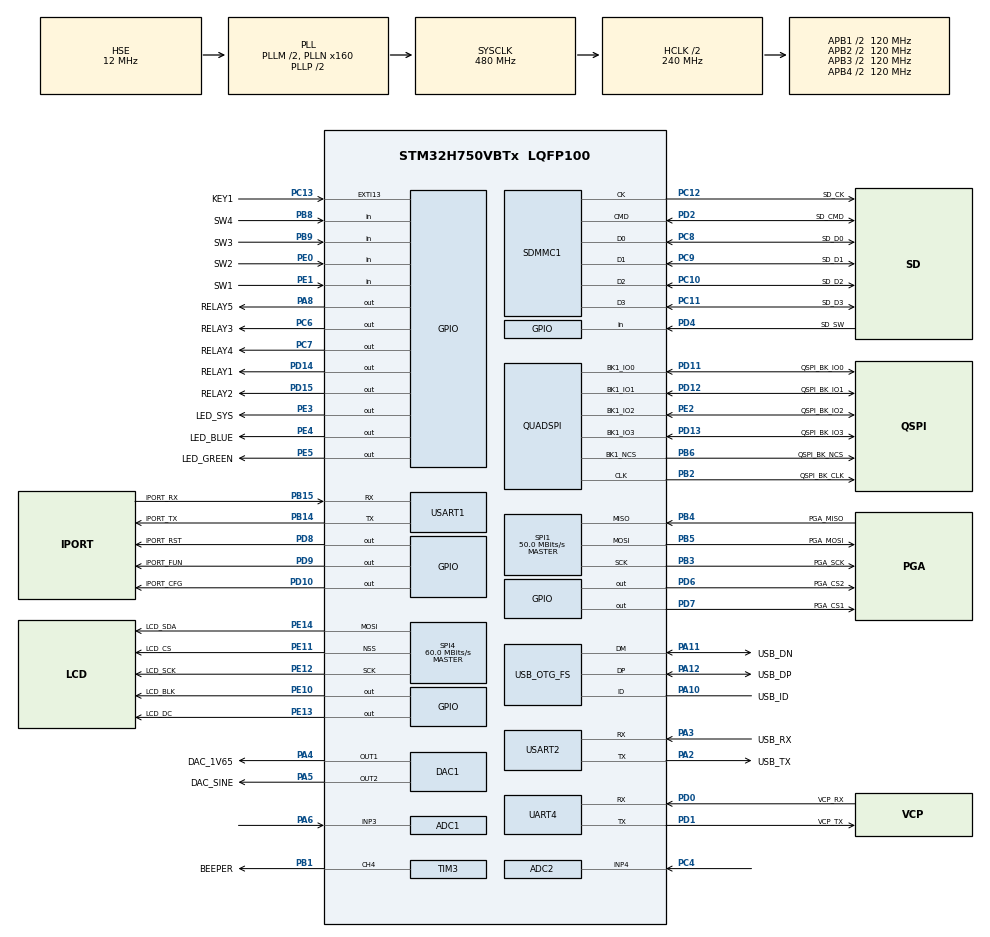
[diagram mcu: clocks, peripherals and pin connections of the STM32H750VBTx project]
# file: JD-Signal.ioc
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ADC1.Channel-10\#ChannelRegularConversion=ADC_CHANNEL_3
ADC1.ClockPrescaler=ADC_CLOCK_ASYNC_DIV6
ADC1.NbrOfConversionFlag=1
ADC1.OffsetNumber-10\#ChannelRegularConversion=ADC_OFFSET_NONE
ADC1.OffsetSignedSaturation-10\#ChannelRegularConversion=DISABLE
ADC1.Rank-10\#ChannelRegularConversion=1
ADC1.SamplingTime-10\#ChannelRegularConversion=ADC_SAMPLETIME_1CYCLE_5
ADC1.master=1
ADC2.Channel-3\#ChannelRegularConversion=ADC_CHANNEL_4
ADC2.ClockPrescaler=ADC_CLOCK_ASYNC_DIV6
ADC2.NbrOfConversionFlag=1
ADC2.OffsetNumber-3\#ChannelRegularConversion=ADC_OFFSET_NONE
ADC2.OffsetSignedSaturation-3\#ChannelRegularConversion=DISABLE
ADC2.Rank-3\#ChannelRegularConversion=1
ADC2.SamplingTime-3\#ChannelRegularConversion=ADC_SAMPLETIME_1CYCLE_5
ADC3.Channel-0\#ChannelRegularConversion=ADC_CHANNEL_TEMPSENSOR
ADC3.ClockPrescaler=ADC_CLOCK_ASYNC_DIV6
ADC3.NbrOfConversionFlag=1
ADC3.OffsetNumber-0\#ChannelRegularConversion=ADC_OFFSET_NONE
ADC3.OffsetSignedSaturation-0\#ChannelRegularConversion=DISABLE
ADC3.Rank-0\#ChannelRegularConversion=1
ADC3.Resolution=ADC_RESOLUTION_12B
ADC3.SamplingTime-0\#ChannelRegularConversion=ADC_SAMPLETIME_810CYCLES_5
CORTEX_M7.CPU_ICache=Enabled
DAC1.DAC1_OutputBuffer-DAC_OUT1=DAC_OUTPUTBUFFER_DISABLE
DAC1.DAC2_OutputBuffer-DAC_OUT2=DAC_OUTPUTBUFFER_DISABLE
DAC1.DAC_Channel-DAC_OUT1=DAC_CHANNEL_1
DAC1.DAC_Channel-DAC_OUT2=DAC_CHANNEL_2
DAC1.DAC_Trigger-DAC_OUT1=DAC_TRIGGER_NONE
DAC1.DAC_Trigger-DAC_OUT2=DAC_TRIGGER_T6_TRGO
Dma.DAC1_CH2.0.Direction=DMA_MEMORY_TO_PERIPH
Dma.DAC1_CH2.0.EventEnable=DISABLE
Dma.DAC1_CH2.0.FIFOMode=DMA_FIFOMODE_DISABLE
Dma.DAC1_CH2.0.Instance=DMA1_Stream1
Dma.DAC1_CH2.0.MemDataAlignment=DMA_MDATAALIGN_HALFWORD
Dma.DAC1_CH2.0.MemInc=DMA_MINC_ENABLE
Dma.DAC1_CH2.0.Mode=DMA_CIRCULAR
Dma.DAC1_CH2.0.PeriphDataAlignment=DMA_PDATAALIGN_HALFWORD
Dma.DAC1_CH2.0.PeriphInc=DMA_PINC_DISABLE
Dma.DAC1_CH2.0.Polarity=HAL_DMAMUX_REQ_GEN_RISING
Dma.DAC1_CH2.0.Priority=DMA_PRIORITY_VERY_HIGH
Dma.DAC1_CH2.0.RequestNumber=1
Dma.DAC1_CH2.0.SignalID=NONE
Dma.DAC1_CH2.0.SyncEnable=DISABLE
Dma.DAC1_CH2.0.SyncPolarity=HAL_DMAMUX_SYNC_NO_EVENT
Dma.DAC1_CH2.0.SyncRequestNumber=1
Dma.DAC1_CH2.0.SyncSignalID=NONE
Dma.Request0=DAC1_CH2
FATFS.BSP.number=1
FATFS._CODE_PAGE=437
FATFS._FS_EXFAT=1
FATFS._MAX_SS=4096
FATFS._USE_LFN=2
FATFS0.BSP.STBoard=false
FATFS0.BSP.api=Unknown
FATFS0.BSP.instance=PD4
FATFS0.BSP.ip=GPIO
FATFS0.BSP.mode=Input
FATFS0.BSP.name=Detect_SDIO
FATFS0.BSP.solution=PD4
FREERTOS.INCLUDE_pcTaskGetTaskName=1
FREERTOS.INCLUDE_xTaskGetHandle=1
FREERTOS.Tasks01=default_Task,0,128,Default_Task,Default,NULL,Dynamic,NULL,NULL;sysLED_Task,-2,128,SysLED_Task,Default,NULL,Dynamic,NULL,NULL;sysTime_Task,-2,128,SysTime_Task,Default,NULL,Dynamic,NULL,NULL;cJSON_Task,-2,1024,CJSON_Task,Default,NULL,Dynamic,NULL,NULL;analyze_Task,0,1024,Analyze_Task,Default,NULL,Dynamic,NULL,NULL;sysTemp_Task,-3,128,SysTemp_Task,Default,NULL,Dynamic,NULL,NULL
FREERTOS.configENABLE_FPU=1
FREERTOS.configGENERATE_RUN_TIME_STATS=1
FREERTOS.configUSE_APPLICATION_TASK_TAG=0
FREERTOS.configUSE_STATS_FORMATTING_FUNCTIONS=1
Mcu.Family=STM32H7
Mcu.Name=STM32H750VBTx
Mcu.Package=LQFP100
NVIC.PriorityGroup=NVIC_PRIORITYGROUP_4
NVIC.SPI4_IRQn=true\:5\:0\:false\:false\:true\:true\:true\:true\:true
NVIC.TIM1_UP_IRQn=true\:15\:0\:false\:false\:true\:false\:false\:true\:true
NVIC.TIM3_IRQn=true\:5\:0\:false\:false\:true\:true\:true\:true\:true
NVIC.TIM4_IRQn=true\:5\:0\:false\:false\:true\:true\:true\:true\:true
NVIC.TIM6_DAC_IRQn=true\:5\:0\:false\:false\:true\:true\:true\:true\:true
NVIC.TimeBase=TIM1_UP_IRQn
NVIC.TimeBaseIP=TIM1
PA10.GPIO_Label=USB_ID
PA10.Mode=OTG/Dual_Role_Device
PA10.Signal=USB_OTG_FS_ID
PA11.GPIO_Label=USB_DN
PA11.Mode=OTG/Dual_Role_Device
PA11.Signal=USB_OTG_FS_DM
PA12.GPIO_Label=USB_DP
PA12.Mode=OTG/Dual_Role_Device
PA12.Signal=USB_OTG_FS_DP
PA13\ (JTMS/SWDIO).GPIO_Label=SWDIO
PA13\ (JTMS/SWDIO).Mode=Serial_Wire
PA13\ (JTMS/SWDIO).Signal=DEBUG_JTMS-SWDIO
PA14\ (JTCK/SWCLK).GPIO_Label=SWCLK
PA14\ (JTCK/SWCLK).Mode=Serial_Wire
PA14\ (JTCK/SWCLK).Signal=DEBUG_JTCK-SWCLK
PA2.GPIO_Label=USB_TX
PA2.Mode=Asynchronous
PA2.Signal=USART2_TX
PA3.GPIO_Label=USB_RX
PA3.Mode=Asynchronous
PA3.Signal=USART2_RX
PA4.GPIO_Label=DAC_1V65
PA4.PinAttribute=Free
PA4.Signal=COMP_DAC11_group
PA5.GPIO_Label=DAC_SINE
PA5.Signal=COMP_DAC12_group
PA6.Signal=ADCx_INP3
PA8.GPIO_Label=RELAY5
PA8.Signal=GPIO_Output
PB1.GPIO_Label=BEEPER
PB1.Signal=S_TIM3_CH4
PB14.GPIO_Label=IPORT_TX
PB14.Mode=Asynchronous
PB14.Signal=USART1_TX
PB15.GPIO_Label=IPORT_RX
PB15.Mode=Asynchronous
PB15.Signal=USART1_RX
PB2.GPIO_Label=QSPI_BK_CLK
PB2.Mode=Single Bank 1
PB2.Signal=QUADSPI_CLK
PB3\ (JTDO/TRACESWO).GPIO_Label=PGA_SCK
PB3\ (JTDO/TRACESWO).Mode=Full_Duplex_Master
PB3\ (JTDO/TRACESWO).Signal=SPI1_SCK
PB4\ (NJTRST).GPIO_Label=PGA_MISO
PB4\ (NJTRST).Mode=Full_Duplex_Master
PB4\ (NJTRST).Signal=SPI1_MISO
PB5.GPIO_Label=PGA_MOSI
PB5.Mode=Full_Duplex_Master
PB5.Signal=SPI1_MOSI
PB6.GPIO_Label=QSPI_BK_NCS
PB6.Mode=Single Bank 1
PB6.Signal=QUADSPI_BK1_NCS
PB8.GPIO_Label=SW4
PB8.Signal=GPIO_Input
PB9.GPIO_Label=SW3
PB9.Signal=GPIO_Input
PC10.GPIO_Label=SD_D2
PC10.Mode=SD_4_bits_Wide_bus
PC10.Signal=SDMMC1_D2
PC11.GPIO_Label=SD_D3
PC11.Mode=SD_4_bits_Wide_bus
PC11.Signal=SDMMC1_D3
PC12.GPIO_Label=SD_CK
PC12.Mode=SD_4_bits_Wide_bus
PC12.Signal=SDMMC1_CK
PC13.GPIO_Label=KEY1
PC13.Signal=GPXTI13
PC14-OSC32_IN\ (OSC32_IN).Mode=LSE-External-Oscillator
PC14-OSC32_IN\ (OSC32_IN).PinAttribute=Free
PC14-OSC32_IN\ (OSC32_IN).Signal=RCC_OSC32_IN
PC15-OSC32_OUT\ (OSC32_OUT).Mode=LSE-External-Oscillator
PC15-OSC32_OUT\ (OSC32_OUT).PinAttribute=Free
PC15-OSC32_OUT\ (OSC32_OUT).Signal=RCC_OSC32_OUT
PC4.Signal=ADCx_INP4
PC6.GPIO_Label=RELAY3
PC6.Signal=GPIO_Output
PC7.GPIO_Label=RELAY4
PC7.Signal=GPIO_Output
PC8.GPIO_Label=SD_D0
PC8.Mode=SD_4_bits_Wide_bus
PC8.Signal=SDMMC1_D0
PC9.GPIO_Label=SD_D1
PC9.Mode=SD_4_bits_Wide_bus
PC9.Signal=SDMMC1_D1
PD0.GPIO_Label=VCP_RX
PD0.Mode=Asynchronous
PD0.Signal=UART4_RX
PD1.GPIO_Label=VCP_TX
PD1.Mode=Asynchronous
PD1.Signal=UART4_TX
PD10.GPIO_Label=IPORT_CFG
PD10.Signal=GPIO_Output
PD11.GPIO_Label=QSPI_BK_IO0
PD11.Mode=Single Bank 1
PD11.Signal=QUADSPI_BK1_IO0
PD12.GPIO_Label=QSPI_BK_IO1
PD12.Mode=Single Bank 1
PD12.Signal=QUADSPI_BK1_IO1
PD13.GPIO_Label=QSPI_BK_IO3
PD13.Mode=Single Bank 1
PD13.Signal=QUADSPI_BK1_IO3
PD14.GPIO_Label=RELAY1
PD14.Signal=GPIO_Output
PD15.GPIO_Label=RELAY2
PD15.Signal=GPIO_Output
PD2.GPIO_Label=SD_CMD
PD2.Mode=SD_4_bits_Wide_bus
PD2.Signal=SDMMC1_CMD
PD4.GPIO_Label=SD_SW
PD4.Signal=GPIO_Input
PD6.GPIO_Label=PGA_CS2
PD6.Signal=GPIO_Output
PD7.GPIO_Label=PGA_CS1
PD7.Signal=GPIO_Output
PD8.GPIO_Label=IPORT_RST
PD8.Signal=GPIO_Output
PD9.GPIO_Label=IPORT_FUN
PD9.Signal=GPIO_Output
PE0.GPIO_Label=SW2
PE0.Signal=GPIO_Input
PE1.GPIO_Label=SW1
PE1.Signal=GPIO_Input
PE10.GPIO_Label=LCD_BLK
PE10.Signal=GPIO_Output
PE11.GPIO_Label=LCD_CS
PE11.Mode=NSS_Signal_Hard_Output
PE11.Signal=SPI4_NSS
PE12.GPIO_Label=LCD_SCK
PE12.Mode=TX_Only_Simplex_Unidirect_Master
PE12.Signal=SPI4_SCK
PE13.GPIO_Label=LCD_DC
PE13.Signal=GPIO_Output
PE14.GPIO_Label=LCD_SDA
PE14.Mode=TX_Only_Simplex_Unidirect_Master
PE14.Signal=SPI4_MOSI
PE2.GPIO_Label=QSPI_BK_IO2
PE2.Mode=Single Bank 1
PE2.Signal=QUADSPI_BK1_IO2
PE3.GPIO_Label=LED_SYS
PE3.Signal=GPIO_Output
PE4.GPIO_Label=LED_BLUE
PE4.Signal=GPIO_Output
PE5.GPIO_Label=LED_GREEN
PE5.Signal=GPIO_Output
PH0-OSC_IN\ (PH0).Mode=HSE-External-Oscillator
PH0-OSC_IN\ (PH0).PinAttribute=Free
PH0-OSC_IN\ (PH0).Signal=RCC_OSC_IN
PH1-OSC_OUT\ (PH1).Mode=HSE-External-Oscillator
PH1-OSC_OUT\ (PH1).PinAttribute=Free
PH1-OSC_OUT\ (PH1).Signal=RCC_OSC_OUT
ProjectManager.HeapSize=0x2000
ProjectManager.StackSize=0x4000
ProjectManager.TargetToolchain=EWARM V8.50
RCC.ADCCLockSelection=RCC_ADCCLKSOURCE_PLL3
RCC.ADCFreq_Value=60000000
RCC.APB1Freq_Value=120000000
RCC.APB2Freq_Value=120000000
RCC.APB3Freq_Value=120000000
RCC.APB4Freq_Value=120000000
RCC.CortexFreq_Value=480000000
RCC.D1PPRE=RCC_APB3_DIV2
RCC.D2PPRE1=RCC_APB1_DIV2
RCC.D2PPRE2=RCC_APB2_DIV2
RCC.D3PPRE=RCC_APB4_DIV2
RCC.DIVM1=2
RCC.DIVM2=3
RCC.DIVM3=2
RCC.DIVN1=160
RCC.DIVN2=100
RCC.DIVN3=100
RCC.DIVP2=4
RCC.DIVQ2=8
RCC.DIVQ3=10
RCC.DIVR2=8
RCC.DIVR3=10
RCC.EnbaleCSS=false
RCC.FLatency=FLASH_LATENCY_4
RCC.HCLKFreq_Value=240000000
RCC.HPRE=RCC_HCLK_DIV2
RCC.HSE_VALUE=12000000
RCC.HSICalibrationValue=64
RCC.PLL1_VCI_Range-AdvancedSettings=RCC_PLL1VCIRANGE_1
RCC.PLL2_VCI_Range-AdvancedSettings=RCC_PLL2VCIRANGE_0
RCC.PLLSourceVirtual=RCC_PLLSOURCE_HSE
RCC.PWR_Regulator_Voltage_Scale=PWR_REGULATOR_VOLTAGE_SCALE0
RCC.ProductRev=revV
RCC.RTCClockSelection=RCC_RTCCLKSOURCE_LSE
RCC.SDMMC1CLockSelection=RCC_SDMMCCLKSOURCE_PLL2
RCC.SPI123CLockSelection=RCC_SPI123CLKSOURCE_PLL2
RCC.SYSCLKFreq_VALUE=480000000
RCC.SYSCLKSource=RCC_SYSCLKSOURCE_PLLCLK
RCC.USBCLockSelection=RCC_USBCLKSOURCE_PLL3
RCC.USBFreq_Value=60000000
RTC.Date=1
RTC.Format=RTC_FORMAT_BIN
RTC.Hours=0
RTC.Minutes=0
RTC.Month=RTC_MONTH_JUNE
RTC.WeekDay=RTC_WEEKDAY_THURSDAY
RTC.Year=53
SH.ADCx_INP3.0=ADC1_INP3,IN3-Single-Ended
SH.ADCx_INP4.0=ADC2_INP4,IN4-Single-Ended
SH.COMP_DAC11_group.0=DAC1_OUT1,DAC_OUT1
SH.COMP_DAC12_group.0=DAC1_OUT2,DAC_OUT2
SH.S_TIM3_CH4.0=TIM3_CH4,Output Compare4 CH4
SPI1.CalculateBaudRate=50.0 MBits/s
SPI1.Direction=SPI_DIRECTION_2LINES
SPI1.Mode=SPI_MODE_MASTER
SPI1.VirtualType=VM_MASTER
SPI4.BaudRatePrescaler=SPI_BAUDRATEPRESCALER_2
SPI4.CalculateBaudRate=60.0 MBits/s
SPI4.DataSize=SPI_DATASIZE_8BIT
SPI4.Direction=SPI_DIRECTION_2LINES_TXONLY
SPI4.Mode=SPI_MODE_MASTER
SPI4.VirtualNSS=VM_NSSHARD
SPI4.VirtualType=VM_MASTER
TIM3.AutoReloadPreload=TIM_AUTORELOAD_PRELOAD_DISABLE
TIM3.Channel-Output\ Compare4\ CH4=TIM_CHANNEL_4
TIM3.Period=1000-1
TIM3.Prescaler=240-1
TIM4.AutoReloadPreload=TIM_AUTORELOAD_PRELOAD_ENABLE
TIM4.Period=500-1
TIM4.Prescaler=240-1
TIM4.TIM_MasterOutputTrigger=TIM_TRGO_UPDATE
TIM6.AutoReloadPreload=TIM_AUTORELOAD_PRELOAD_ENABLE
TIM6.Period=47-1
TIM6.Prescaler=2-1
TIM6.TIM_MasterOutputTrigger=TIM_TRGO_UPDATE
USART1.VirtualMode-Asynchronous=VM_ASYNC
USART2.VirtualMode-Asynchronous=VM_ASYNC
VP_ADC3_TempSens_Input.Mode=IN-TempSens
VP_FATFS_VS_SDIO.Mode=SDIO
VP_FREERTOS_VS_CMSIS_V1.Mode=CMSIS_V1
VP_RTC_VS_RTC_Activate.Mode=RTC_Enabled
VP_RTC_VS_RTC_Calendar.Mode=RTC_Calendar
VP_SYS_VS_tim1.Mode=TIM1
VP_TIM3_VS_ClockSourceINT.Mode=Internal
VP_TIM4_VS_ClockSourceINT.Mode=Internal
VP_TIM6_VS_ClockSourceINT.Mode=Enable_Timer
VP_VREFBUF_V_VREFBUF.Mode=ExternalMode
board=custom

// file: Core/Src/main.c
/* USER CODE BEGIN Header */
/* USER CODE END Header */
#include "main.h"
#include "cmsis_os.h"
#include "adc.h"
#include "dac.h"
#include "dma.h"
#include "fatfs.h"
#include "quadspi.h"
#include "rtc.h"
#include "sdmmc.h"
#include "spi.h"
#include "tim.h"
#include "usart.h"
#include "usb_otg.h"
#include "gpio.h"

/* USER CODE BEGIN Includes */
#include "stdio.h"
#include "math.h"
#include "arm_math.h"
#include "arm_const_structs.h"
#include "Algorithm.h"
#include "BodeSetting.h"
#include "cJSON.h"
#include "LCD.h"
#include "lcd_init.h"
#include "LTC6912.h"
#include "SaveInCSV.h"
#include "SD.h"
#include "UserInteraction.h"
/* USER CODE END Includes */

void SystemClock_Config(void);
void PeriphCommonClock_Config(void);
void MX_FREERTOS_Init(void);

int main(void)
{

    /* Enable I-Cache---------------------------------------------------------*/
    SCB_EnableICache();

    /* MCU Configuration--------------------------------------------------------*/

    /* Reset of all peripherals, Initializes the Flash interface and the Systick. */
    HAL_Init();

    /* Configure the system clock */
    SystemClock_Config();

    /* Configure the peripherals common clocks */
    PeriphCommonClock_Config();

    /* Initialize all configured peripherals */
    MX_GPIO_Init();
    MX_DMA_Init();
    MX_DAC1_Init();
    MX_TIM3_Init();
    MX_TIM6_Init();
    MX_USART1_UART_Init();
    MX_ADC3_Init();
    MX_RTC_Init();
    MX_FATFS_Init();
    MX_ADC1_Init();
    MX_TIM4_Init();
    MX_ADC2_Init();
    MX_SPI4_Init();
    MX_QUADSPI_Init();
    MX_SDMMC1_SD_Init();
    MX_SPI1_Init();
    MX_UART4_Init();
    MX_USART2_UART_Init();
    MX_USB_OTG_FS_USB_Init();
    /* USER CODE BEGIN 2 */
    printf("\r\nJD-Signal\r\n");

    HAL_ADCEx_Calibration_Start(&hadc1, ADC_CALIB_OFFSET, ADC_SINGLE_ENDED);
    HAL_ADCEx_Calibration_Start(&hadc2, ADC_CALIB_OFFSET, ADC_SINGLE_ENDED);
    HAL_ADCEx_Calibration_Start(&hadc3, ADC_CALIB_OFFSET, ADC_SINGLE_ENDED);

    HAL_ADCEx_Calibration_Start(&hadc1, ADC_CALIB_OFFSET_LINEARITY, ADC_SINGLE_ENDED);
    HAL_ADCEx_Calibration_Start(&hadc2, ADC_CALIB_OFFSET_LINEARITY, ADC_SINGLE_ENDED);
    HAL_ADCEx_Calibration_Start(&hadc3, ADC_CALIB_OFFSET_LINEARITY, ADC_SINGLE_ENDED);

    LED_Init();
    Relay_Init();
    HAL_Delay(100);
    Relay_On(4);

    Vref_Init();
    Sine_Init(1000, 50);
    Sine_OutputEn(1);

    LCD_Init();
    LCD_Fill(0, 0, LCD_W, LCD_H, BLACK);
    LCD_ShowString(2, 2, "JD-Signal", WHITE, BLACK, 16, 0);

    // LTC6912_SetGain(2, 1);
    // LTC6912_SetGain(2, 2);
    /* USER CODE END 2 */

    /* Call init function for freertos objects (in freertos.c) */
    MX_FREERTOS_Init();

    /* Start scheduler */
    osKernelStart();
    /* We should never get here as control is now taken by the scheduler */
    /* Infinite loop */
    while (1)
    {

    }
}

void SystemClock_Config(void)
{
    RCC_OscInitTypeDef RCC_OscInitStruct = {0};
    RCC_ClkInitTypeDef RCC_ClkInitStruct = {0};

    /** Supply configuration update enable
     */
    HAL_PWREx_ConfigSupply(PWR_LDO_SUPPLY);

    /** Configure the main internal regulator output voltage
     */
    __HAL_PWR_VOLTAGESCALING_CONFIG(PWR_REGULATOR_VOLTAGE_SCALE1);

    while (!__HAL_PWR_GET_FLAG(PWR_FLAG_VOSRDY))
    {
    }

    __HAL_RCC_SYSCFG_CLK_ENABLE();
    __HAL_PWR_VOLTAGESCALING_CONFIG(PWR_REGULATOR_VOLTAGE_SCALE0);

    while (!__HAL_PWR_GET_FLAG(PWR_FLAG_VOSRDY))
    {
    }

    /** Configure LSE Drive Capability
     */
    HAL_PWR_EnableBkUpAccess();
    __HAL_RCC_LSEDRIVE_CONFIG(RCC_LSEDRIVE_LOW);

    /** Initializes the RCC Oscillators according to the specified parameters
     * in the RCC_OscInitTypeDef structure.
     */
    RCC_OscInitStruct.OscillatorType = RCC_OSCILLATORTYPE_HSE | RCC_OSCILLATORTYPE_LSE;
    RCC_OscInitStruct.HSEState = RCC_HSE_ON;
    RCC_OscInitStruct.LSEState = RCC_LSE_ON;
    RCC_OscInitStruct.PLL.PLLState = RCC_PLL_ON;
    RCC_OscInitStruct.PLL.PLLSource = RCC_PLLSOURCE_HSE;
    RCC_OscInitStruct.PLL.PLLM = 2;
    RCC_OscInitStruct.PLL.PLLN = 160;
    RCC_OscInitStruct.PLL.PLLP = 2;
    RCC_OscInitStruct.PLL.PLLQ = 2;
    RCC_OscInitStruct.PLL.PLLR = 2;
    RCC_OscInitStruct.PLL.PLLRGE = RCC_PLL1VCIRANGE_2;
    RCC_OscInitStruct.PLL.PLLVCOSEL = RCC_PLL1VCOWIDE;
    RCC_OscInitStruct.PLL.PLLFRACN = 0;
    if (HAL_RCC_OscConfig(&RCC_OscInitStruct) != HAL_OK)
    {
        Error_Handler();
    }

    /** Initializes the CPU, AHB and APB buses clocks
     */
    RCC_ClkInitStruct.ClockType = RCC_CLOCKTYPE_HCLK | RCC_CLOCKTYPE_SYSCLK | RCC_CLOCKTYPE_PCLK1 | RCC_CLOCKTYPE_PCLK2 | RCC_CLOCKTYPE_D3PCLK1 | RCC_CLOCKTYPE_D1PCLK1;
    RCC_ClkInitStruct.SYSCLKSource = RCC_SYSCLKSOURCE_PLLCLK;
    RCC_ClkInitStruct.SYSCLKDivider = RCC_SYSCLK_DIV1;
    RCC_ClkInitStruct.AHBCLKDivider = RCC_HCLK_DIV2;
    RCC_ClkInitStruct.APB3CLKDivider = RCC_APB3_DIV2;
    RCC_ClkInitStruct.APB1CLKDivider = RCC_APB1_DIV2;
    RCC_ClkInitStruct.APB2CLKDivider = RCC_APB2_DIV2;
    RCC_ClkInitStruct.APB4CLKDivider = RCC_APB4_DIV2;

    if (HAL_RCC_ClockConfig(&RCC_ClkInitStruct, FLASH_LATENCY_4) != HAL_OK)
    {
        Error_Handler();
    }
}

void PeriphCommonClock_Config(void)
{
    RCC_PeriphCLKInitTypeDef PeriphClkInitStruct = {0};

    /** Initializes the peripherals clock
     */
    PeriphClkInitStruct.PeriphClockSelection = RCC_PERIPHCLK_USB | RCC_PERIPHCLK_ADC | RCC_PERIPHCLK_SDMMC | RCC_PERIPHCLK_SPI1;
    PeriphClkInitStruct.PLL2.PLL2M = 3;
    PeriphClkInitStruct.PLL2.PLL2N = 100;
    PeriphClkInitStruct.PLL2.PLL2P = 4;
    PeriphClkInitStruct.PLL2.PLL2Q = 8;
    PeriphClkInitStruct.PLL2.PLL2R = 8;
    PeriphClkInitStruct.PLL2.PLL2RGE = RCC_PLL2VCIRANGE_2;
    PeriphClkInitStruct.PLL2.PLL2VCOSEL = RCC_PLL2VCOWIDE;
    PeriphClkInitStruct.PLL2.PLL2FRACN = 0;
    PeriphClkInitStruct.PLL3.PLL3M = 2;
    PeriphClkInitStruct.PLL3.PLL3N = 100;
    PeriphClkInitStruct.PLL3.PLL3P = 2;
    PeriphClkInitStruct.PLL3.PLL3Q = 10;
    PeriphClkInitStruct.PLL3.PLL3R = 10;
    PeriphClkInitStruct.PLL3.PLL3RGE = RCC_PLL3VCIRANGE_2;
    PeriphClkInitStruct.PLL3.PLL3VCOSEL = RCC_PLL3VCOWIDE;
    PeriphClkInitStruct.PLL3.PLL3FRACN = 0;
    PeriphClkInitStruct.SdmmcClockSelection = RCC_SDMMCCLKSOURCE_PLL2;
    PeriphClkInitStruct.Spi123ClockSelection = RCC_SPI123CLKSOURCE_PLL2;
    PeriphClkInitStruct.UsbClockSelection = RCC_USBCLKSOURCE_PLL3;
    PeriphClkInitStruct.AdcClockSelection = RCC_ADCCLKSOURCE_PLL3;
    if (HAL_RCCEx_PeriphCLKConfig(&PeriphClkInitStruct) != HAL_OK)
    {
        Error_Handler();
    }
}

void HAL_TIM_PeriodElapsedCallback(TIM_HandleTypeDef *htim)
{
    if (htim->Instance == TIM1)
    {
        HAL_IncTick();
    }
}

void Error_Handler(void)
{
}

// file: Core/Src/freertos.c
/* USER CODE BEGIN Header */
/**
 ******************************************************************************
 * File Name          : freertos.c
 * Description        : Code for freertos applications
 ******************************************************************************
 * @attention
 *
 * Copyright (c) 2023 STMicroelectronics.
 * All rights reserved.
 *
 * This software is licensed under terms that can be found in the LICENSE file
 * in the root directory of this software component.
 * If no LICENSE file comes with this software, it is provided AS-IS.
 *
 ******************************************************************************
 */
/* USER CODE END Header */

#include "FreeRTOS.h"
#include "task.h"
#include "main.h"
#include "cmsis_os.h"

/* USER CODE BEGIN Includes */
#include "stm32h7xx_it.h"
#include "stdio.h"
#include "string.h"
#include "math.h"
#include "main.h"
#include "LCD.h"
#include "stdlib.h"
#include "rtc.h"
#include "adc.h"
#include "tim.h"
#include "usart.h"
#include "cJSON.h"
#include "Algorithm.h"
/* USER CODE END Includes */

/* USER CODE BEGIN PTD */
#define DEBUG_UART huart4

#pragma location = ".RAM_D1"
uint16_t ADC1_Buffer[ADC_COUNT];
#pragma location = ".RAM_D1"
uint16_t ADC2_Buffer[ADC_COUNT];

#define UART_BUFFER_SIZE 256

#pragma location = ".RAM_D1"
uint8_t Uart_Buffer[UART_BUFFER_SIZE];
/* USER CODE END PTD */

osThreadId default_TaskHandle;
osThreadId sysLED_TaskHandle;
osThreadId sysTime_TaskHandle;
osThreadId cJSON_TaskHandle;
osThreadId analyze_TaskHandle;
osThreadId sysTemp_TaskHandle;

/* USER CODE BEGIN FunctionPrototypes */
__IO uint8_t ADC1ConvEnd = 0;
__IO uint8_t ADC2ConvEnd = 0;

void HAL_UARTEx_RxEventCallback(UART_HandleTypeDef *huart, uint16_t Size)
{
    if (huart->Instance == USART6)
    {
        uint16_t RecCount = UART_BUFFER_SIZE - __HAL_DMA_GET_COUNTER(huart->hdmarx);
        xTaskNotifyFromISR(cJSON_TaskHandle, RecCount, eSetValueWithoutOverwrite, NULL);
    }
}

void HAL_ADC_ConvCpltCallback(ADC_HandleTypeDef *hadc)
{
    if (hadc == &hadc1)
    {
        ADC1ConvEnd = 1;
    }
    else if (hadc == &hadc2)
    {
        ADC2ConvEnd = 1;
    }
    if (ADC1ConvEnd == 1 && ADC2ConvEnd == 1)
    {
        xTaskNotifyFromISR(analyze_TaskHandle, 1, eSetValueWithoutOverwrite, NULL);
    }
}

/* USER CODE END FunctionPrototypes */

void Default_Task(void const * argument);
void SysLED_Task(void const * argument);
void SysTime_Task(void const * argument);
void CJSON_Task(void const * argument);
void Analyze_Task(void const * argument);
void SysTemp_Task(void const * argument);

void MX_FREERTOS_Init(void); /* (MISRA C 2004 rule 8.1) */

/* GetIdleTaskMemory prototype (linked to static allocation support) */
void vApplicationGetIdleTaskMemory( StaticTask_t **ppxIdleTaskTCBBuffer, StackType_t **ppxIdleTaskStackBuffer, uint32_t *pulIdleTaskStackSize );

/* Hook prototypes */
void configureTimerForRunTimeStats(void);
unsigned long getRunTimeCounterValue(void);

/* USER CODE BEGIN 1 */
/* Functions needed when configGENERATE_RUN_TIME_STATS is on */
__weak void configureTimerForRunTimeStats(void)
{
}

__weak unsigned long getRunTimeCounterValue(void)
{
    return 0;
}
/* USER CODE END 1 */

/* USER CODE BEGIN GET_IDLE_TASK_MEMORY */
static StaticTask_t xIdleTaskTCBBuffer;
static StackType_t xIdleStack[configMINIMAL_STACK_SIZE];

void vApplicationGetIdleTaskMemory(StaticTask_t **ppxIdleTaskTCBBuffer, StackType_t **ppxIdleTaskStackBuffer, uint32_t *pulIdleTaskStackSize)
{
    *ppxIdleTaskTCBBuffer = &xIdleTaskTCBBuffer;
    *ppxIdleTaskStackBuffer = &xIdleStack[0];
    *pulIdleTaskStackSize = configMINIMAL_STACK_SIZE;
    /* place for user code */
}
/* USER CODE END GET_IDLE_TASK_MEMORY */

void MX_FREERTOS_Init(void) {
  /* USER CODE BEGIN Init */
    memset(Uart_Buffer, 0, UART_BUFFER_SIZE);
    HAL_UARTEx_ReceiveToIdle_DMA(&huart4, Uart_Buffer, UART_BUFFER_SIZE);

    cJSON_Hooks hooks;
    hooks.malloc_fn = pvPortMalloc;
    hooks.free_fn = vPortFree;
    cJSON_InitHooks(&hooks);
  /* USER CODE END Init */

  /* Create the thread(s) */
  /* definition and creation of default_Task */
  osThreadDef(default_Task, Default_Task, osPriorityNormal, 0, 128);
  default_TaskHandle = osThreadCreate(osThread(default_Task), NULL);

  /* definition and creation of sysLED_Task */
  osThreadDef(sysLED_Task, SysLED_Task, osPriorityLow, 0, 128);
  sysLED_TaskHandle = osThreadCreate(osThread(sysLED_Task), NULL);

  /* definition and creation of sysTime_Task */
  osThreadDef(sysTime_Task, SysTime_Task, osPriorityLow, 0, 128);
  sysTime_TaskHandle = osThreadCreate(osThread(sysTime_Task), NULL);

  /* definition and creation of cJSON_Task */
  osThreadDef(cJSON_Task, CJSON_Task, osPriorityLow, 0, 1024);
  cJSON_TaskHandle = osThreadCreate(osThread(cJSON_Task), NULL);

  /* definition and creation of analyze_Task */
  osThreadDef(analyze_Task, Analyze_Task, osPriorityNormal, 0, 1024);
  analyze_TaskHandle = osThreadCreate(osThread(analyze_Task), NULL);

  /* definition and creation of sysTemp_Task */
  osThreadDef(sysTemp_Task, SysTemp_Task, osPriorityIdle, 0, 128);
  sysTemp_TaskHandle = osThreadCreate(osThread(sysTemp_Task), NULL);

}

void Default_Task(void const * argument)
{
  /* USER CODE BEGIN Default_Task */
    /* Infinite loop */
    for (;;)
    {
        osDelay(1000);
    }
  /* USER CODE END Default_Task */
}

void SysLED_Task(void const * argument)
{
  /* USER CODE BEGIN SysLED_Task */
    /* Infinite loop */
    for (;;)
    {
        HAL_GPIO_TogglePin(LED_BLUE_GPIO_Port, LED_BLUE_Pin);
        osDelay(500);
    }
  /* USER CODE END SysLED_Task */
}

void SysTime_Task(void const * argument)
{
  /* USER CODE BEGIN SysTime_Task */
    /* Infinite loop */
    for (;;)
    {
        RTC_DateTypeDef RTC_Date;
        RTC_TimeTypeDef RTC_Time;
        HAL_RTC_GetTime(&hrtc, &RTC_Time, RTC_FORMAT_BIN);
        HAL_RTC_GetDate(&hrtc, &RTC_Date, RTC_FORMAT_BIN);
        char TimeStamp[32];
        sprintf(TimeStamp, "%04d-%02d-%02d %02d:%02d:%02d",
                RTC_Date.Year + 1970, RTC_Date.Month, RTC_Date.Date,
                RTC_Time.Hours, RTC_Time.Minutes, RTC_Time.Seconds);
        // printf("%s\r\n", TimeStamp);
        LCD_ShowString(2, 20, (uint8_t const *)TimeStamp, WHITE, BLACK, 16, 0);
        osDelay(1000);
    }

  /* USER CODE END SysTime_Task */
}

void CJSON_Task(void const * argument)
{
  /* USER CODE BEGIN CJSON_Task */
    BaseType_t xResult;
    uint32_t ulValue;
    /* Infinite loop */
    for (;;)
    {
        xResult = xTaskNotifyWait(0, 0, &ulValue, portMAX_DELAY);
        if (xResult == pdPASS)
        {
            cJSON *cjson = cJSON_Parse((char *)Uart_Buffer);
            char *str = cJSON_Print(cjson);
            if (cjson == NULL)
            {
                printf("parse fail.\n");
            }
            else
            {
                cJSON *cjson_function = cJSON_GetObjectItem(cjson, "function");
                if (strcmp(cjson_function->valuestring, "time") == 0)
                {
                    cJSON *cjson_time = cJSON_GetObjectItem(cjson, "time");
                    cJSON *cjson_yaer = cJSON_GetObjectItem(cjson_time, "year");
                    cJSON *cjson_month = cJSON_GetObjectItem(cjson_time, "month");
                    cJSON *cjson_day = cJSON_GetObjectItem(cjson_time, "day");
                    cJSON *cjson_hour = cJSON_GetObjectItem(cjson_time, "hour");
                    cJSON *cjson_minute = cJSON_GetObjectItem(cjson_time, "minute");
                    cJSON *cjson_second = cJSON_GetObjectItem(cjson_time, "second");
                    RTC_DateTypeDef RTC_Date;
                    RTC_TimeTypeDef RTC_Time;
                    RTC_Date.Year = cjson_yaer->valueint - 1970;
                    RTC_Date.Month = cjson_month->valueint;
                    RTC_Date.Date = cjson_day->valueint;
                    RTC_Date.WeekDay = (RTC_Date.Date + 2 * RTC_Date.Month + 3 * (RTC_Date.Month + 1) / 5 + RTC_Date.Year + RTC_Date.Year / 4 - RTC_Date.Year / 100 + RTC_Date.Year / 400) % 7;
                    RTC_Time.Hours = cjson_hour->valueint;
                    RTC_Time.Minutes = cjson_minute->valueint;
                    RTC_Time.Seconds = cjson_second->valueint;
                    RTC_Time.DayLightSaving = RTC_DAYLIGHTSAVING_NONE;
                    RTC_Time.StoreOperation = RTC_STOREOPERATION_RESET;
                    HAL_RTC_SetDate(&hrtc, &RTC_Date, RTC_FORMAT_BIN);
                    HAL_RTC_SetTime(&hrtc, &RTC_Time, RTC_FORMAT_BIN);
                }
                else if (strcmp(cjson_function->valuestring, "test") == 0)
                {
                    HAL_ADC_Start_DMA(&hadc1, (uint32_t *)ADC1_Buffer, ADC_COUNT);
                    HAL_ADC_Start_DMA(&hadc2, (uint32_t *)ADC2_Buffer, ADC_COUNT);
                    HAL_TIM_Base_Start(&htim4);
                }
            }
            if (cjson != NULL)
            {
                cJSON_Delete(cjson);
            }
        }
        HAL_UARTEx_ReceiveToIdle_DMA(&DEBUG_UART, Uart_Buffer, UART_BUFFER_SIZE);
    }
  /* USER CODE END CJSON_Task */
}

void Analyze_Task(void const * argument)
{
  /* USER CODE BEGIN Analyze_Task */
    BaseType_t xResult;
    uint32_t ulValue;
    /* Infinite loop */
    for (;;)
    {
        xResult = xTaskNotifyWait(0, 0, &ulValue, portMAX_DELAY);
        if (xResult == pdPASS)
        {
            if (ulValue == 1)
            {
                HAL_TIM_Base_Stop(&htim4);
                HAL_ADC_Stop_DMA(&hadc1);
                HAL_ADC_Stop_DMA(&hadc2);
                // printf("ADC Finish\r\n");
                // TODO: Analyze
            }
        }
    }
  /* USER CODE END Analyze_Task */
}

void SysTemp_Task(void const * argument)
{
    for (;;)
    {
        osDelay(1);
    }
}
